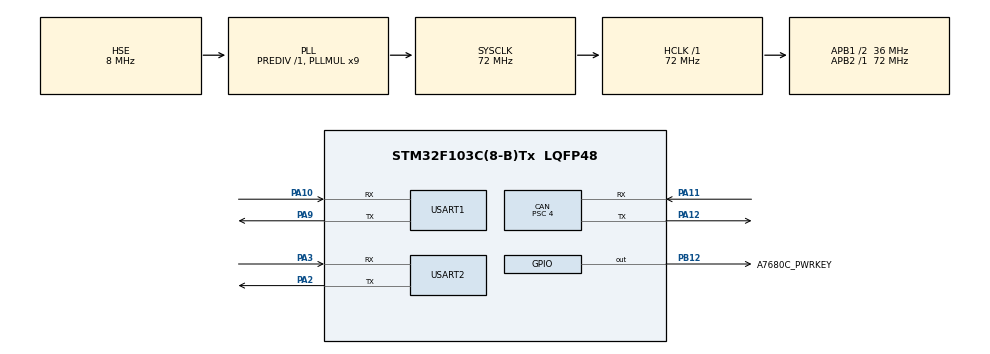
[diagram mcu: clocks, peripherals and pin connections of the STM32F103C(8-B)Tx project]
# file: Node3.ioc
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CAN.BS1=CAN_BS1_15TQ
CAN.BS2=CAN_BS2_2TQ
CAN.CalculateBaudRate=500000
CAN.CalculateTimeBit=2000
CAN.CalculateTimeQuantum=111.11111111111111
CAN.Prescaler=4
FREERTOS.INCLUDE_vTaskDelayUntil=1
FREERTOS.Tasks01=defaultTask,0,128,StartDefaultTask,Default,NULL,Dynamic,NULL,NULL
Mcu.Family=STM32F1
Mcu.Name=STM32F103C(8-B)Tx
Mcu.Package=LQFP48
NVIC.PriorityGroup=NVIC_PRIORITYGROUP_4
NVIC.TIM4_IRQn=true\:15\:0\:false\:false\:true\:false\:false\:true\:true
NVIC.TimeBase=TIM4_IRQn
NVIC.TimeBaseIP=TIM4
NVIC.USART2_IRQn=true\:6\:0\:true\:false\:true\:true\:true\:true\:true
NVIC.USB_LP_CAN1_RX0_IRQn=true\:5\:0\:true\:false\:true\:true\:true\:true\:true
PA10.Mode=Asynchronous
PA10.Signal=USART1_RX
PA11.Mode=CAN_Activate
PA11.Signal=CAN_RX
PA12.Mode=CAN_Activate
PA12.Signal=CAN_TX
PA13.Mode=Serial_Wire
PA13.Signal=SYS_JTMS-SWDIO
PA14.Mode=Serial_Wire
PA14.Signal=SYS_JTCK-SWCLK
PA2.Mode=Asynchronous
PA2.Signal=USART2_TX
PA3.Mode=Asynchronous
PA3.Signal=USART2_RX
PA9.Mode=Asynchronous
PA9.Signal=USART1_TX
PB12.GPIO_Label=A7680C_PWRKEY
PB12.PinState=GPIO_PIN_SET
PB12.Signal=GPIO_Output
PD0-OSC_IN.Mode=HSE-External-Oscillator
PD0-OSC_IN.Signal=RCC_OSC_IN
PD1-OSC_OUT.Mode=HSE-External-Oscillator
PD1-OSC_OUT.Signal=RCC_OSC_OUT
ProjectManager.HeapSize=0x200
ProjectManager.StackSize=0x400
ProjectManager.TargetToolchain=MDK-ARM V5.32
RCC.AHBFreq_Value=72000000
RCC.APB1CLKDivider=RCC_HCLK_DIV2
RCC.APB1Freq_Value=36000000
RCC.APB1TimFreq_Value=72000000
RCC.APB2Freq_Value=72000000
RCC.APB2TimFreq_Value=72000000
RCC.HCLKFreq_Value=72000000
RCC.PLLMUL=RCC_PLL_MUL9
RCC.PLLSourceVirtual=RCC_PLLSOURCE_HSE
RCC.SYSCLKFreq_VALUE=72000000
RCC.SYSCLKSource=RCC_SYSCLKSOURCE_PLLCLK
RCC.USBFreq_Value=72000000
USART1.VirtualMode=VM_ASYNC
USART2.VirtualMode=VM_ASYNC
VP_FREERTOS_VS_CMSIS_V1.Mode=CMSIS_V1
VP_SYS_VS_tim4.Mode=TIM4
board=custom

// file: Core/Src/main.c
/* USER CODE BEGIN Header */
/*
 * Node 3: CAN sensor reception + A7680C call alert
 *
 * CAN:
 *   500 kbit/s with HSE 8 MHz
 *   PA11 RX, PA12 TX
 *   Standard data frame ID 0x100, DLC 4
 *
 * USART2:
 *   PA2 TX -> modem RXD
 *   PA3 RX <- modem TXD
 *   115200 baud, 8N1
 *
 * Modem powered on manually.
 * No SMS and no actuator command transmission in this version.
 */
/* USER CODE END Header */

#include "main.h"
#include "cmsis_os.h"

/* USER CODE BEGIN Includes */
#include "FreeRTOS.h"
#include "task.h"
#include "queue.h"
#include "A7680C.h"
#include <stdbool.h>
#include <stdio.h>
#include <string.h>
/* USER CODE END Includes */

/* USER CODE BEGIN PD */
#define ALERT_PHONE             "0399136893"

#define GAS_ALERT_ON            1500U
#define GAS_ALERT_OFF           1000U

#define CAN_DATA_TIMEOUT_MS     3000U
#define CALL_DURATION_MS        30000U
#define CALL_INTERVAL_MS        60000U
#define AT_RETRY_INTERVAL_MS    2000U
/* USER CODE END PD */

/* USER CODE BEGIN PTD */
typedef struct
{
    uint8_t temperature;
    uint8_t humidity;
    uint16_t gas_raw;
    uint32_t received_ms;
} SensorData_t;
/* USER CODE END PTD */

CAN_HandleTypeDef hcan;
UART_HandleTypeDef huart1;
UART_HandleTypeDef huart2;

/* USER CODE BEGIN PV */

/*
 * One-element queue:
 * ISR overwrites it with the newest sensor sample.
 */
static QueueHandle_t xSensorQueue = NULL;
static TaskHandle_t xGatewayTaskHandle = NULL;

volatile SensorData_t g_node3Debug = {0};

/* CAN diagnostics */
volatile uint32_t g_canStage = 0;
volatile uint32_t g_canRxCount = 0;
volatile uint32_t g_canProcessedCount = 0;
volatile uint32_t g_canInvalidCount = 0;
volatile uint32_t g_canReadErrorCount = 0;
volatile uint32_t g_canQueueErrorCount = 0;
volatile uint32_t g_canError = 0;

/* Sensor state */
volatile uint32_t g_sensorSeen = 0;
volatile uint32_t g_sensorFresh = 0;
volatile uint32_t g_sensorAgeMs = 0;
volatile uint32_t g_gasAlarm = 0;

volatile uint32_t g_taskLoops = 0;

/*
 * Call stage:
 * 0  = task not started
 * 1  = initial modem wait
 * 2  = checking AT
 * 3  = modem ready
 * 4  = sending ATD
 * 5  = monitoring call
 * 6  = ATH sent
 * 7  = call terminated by modem
 * 90 = UART error or modem ERROR
 */
volatile uint32_t g_callStage = 0;
volatile uint32_t g_atOK = 0;
volatile uint32_t g_atFailCount = 0;

/*
 * Manual testing:
 * g_callRequest = 1: request one call, respecting cooldown.
 * g_hangupRequest = 1: hang up an active call.
 */
volatile uint32_t g_callRequest = 0;
volatile uint32_t g_hangupRequest = 0;

volatile uint32_t g_callActive = 0;
volatile uint32_t g_callAttempts = 0;
volatile uint32_t g_callElapsedMs = 0;
volatile uint32_t g_callCooldownMs = 0;
volatile uint32_t g_hangupCount = 0;

volatile uint32_t g_uartTxStatus = HAL_OK;
volatile uint32_t g_uartError = 0;

/*
 * Fatal error:
 * 1 oscillator
 * 2 clock
 * 3 UART1
 * 4 UART2
 * 5 CAN init
 * 6 queue allocation
 * 7 task allocation
 * 8 CAN filter
 * 9 CAN start
 * 10 CAN notification
 * 11 scheduler returned
 */
volatile uint32_t g_errorCode = 0;

char g_lastCommand[64];
char g_callRx[256];

static uint16_t callRxLength = 0;
static SensorData_t latestSensor = {0};

static bool sensorSeen = false;
static bool gasAlarm = false;
static bool callActive = false;
static bool callAttempted = false;

static uint32_t callStartedMs = 0;
static uint32_t lastCallAttemptMs = 0;

/* USER CODE END PV */

void SystemClock_Config(void);
static void MX_GPIO_Init(void);
static void MX_CAN_Init(void);
static void MX_USART1_UART_Init(void);
static void MX_USART2_UART_Init(void);

/* USER CODE BEGIN PFP */
static void Task_Gateway(void *argument);
static void CAN_StartReception(void);

static void Sensor_Update(void);
static void Modem_ResetResponse(void);
static void Modem_DrainInput(void);
static bool Modem_Send(const char *command);
static void Modem_ReadByte(void);

static void Call_Start(void);
static void Call_Service(void);
static void Call_Hangup(uint32_t finalStage);
/* USER CODE END PFP */

/* USER CODE BEGIN 0 */

static void Modem_ResetResponse(void)
{
    memset(g_callRx, 0, sizeof(g_callRx));
    callRxLength = 0;
}

static void Modem_DrainInput(void)
{
    uint8_t byte;
    uint32_t start = HAL_GetTick();

    while ((HAL_GetTick() - start) < 50U)
    {
        if (HAL_UART_Receive(&huart2, &byte, 1, 2) != HAL_OK)
        {
            break;
        }
    }

    __HAL_UART_CLEAR_OREFLAG(&huart2);
}

static bool Modem_Send(const char *command)
{
    HAL_StatusTypeDef status;

    snprintf(g_lastCommand,
             sizeof(g_lastCommand),
             "%s",
             command);

    status = HAL_UART_Transmit(&huart2,
                              (uint8_t *)command,
                              (uint16_t)strlen(command),
                              1000);

    g_uartTxStatus = (uint32_t)status;
    g_uartError = HAL_UART_GetError(&huart2);

    return status == HAL_OK;
}

static void Modem_ReadByte(void)
{
    uint8_t byte;
    HAL_StatusTypeDef status;

    status = HAL_UART_Receive(&huart2, &byte, 1, 20);

    if (status == HAL_OK)
    {
        if (callRxLength >= (sizeof(g_callRx) - 1U))
        {
            memmove(g_callRx,
                    g_callRx + 1,
                    sizeof(g_callRx) - 2U);

            callRxLength = sizeof(g_callRx) - 2U;
        }

        g_callRx[callRxLength++] = (char)byte;
        g_callRx[callRxLength] = '\0';
    }
    else if (status == HAL_ERROR)
    {
        g_uartError = HAL_UART_GetError(&huart2);
        __HAL_UART_CLEAR_OREFLAG(&huart2);
    }
}

static void Sensor_Update(void)
{
    SensorData_t sample;
    uint32_t now = HAL_GetTick();

    if (xQueueReceive(xSensorQueue, &sample, 0) == pdPASS)
    {
        latestSensor = sample;
        sensorSeen = true;

        g_node3Debug = sample;
        g_canProcessedCount++;
    }

    g_sensorSeen = sensorSeen ? 1U : 0U;

    if (!sensorSeen)
    {
        g_sensorFresh = 0;
        g_sensorAgeMs = 0;
        g_gasAlarm = 0;
        return;
    }

    g_sensorAgeMs = now - latestSensor.received_ms;

    g_sensorFresh =
        (g_sensorAgeMs <= CAN_DATA_TIMEOUT_MS) ? 1U : 0U;

    /*
     * Do not use stale readings to arm or clear the alarm.
     * Freshness is also checked before each automatic call.
     */
    if (g_sensorFresh != 0U)
    {
        if (latestSensor.gas_raw > GAS_ALERT_ON)
        {
            gasAlarm = true;
        }
        else if (latestSensor.gas_raw < GAS_ALERT_OFF)
        {
            gasAlarm = false;
        }
    }

    g_gasAlarm = gasAlarm ? 1U : 0U;
}

static void Call_Start(void)
{
    char command[64];

    /*
     * Cooldown applies to every attempt, including failures.
     */
    lastCallAttemptMs = HAL_GetTick();
    callAttempted = true;
    g_callAttempts++;

    g_callRequest = 0;
    g_hangupRequest = 0;
    g_callElapsedMs = 0;

    Modem_DrainInput();
    Modem_ResetResponse();

    snprintf(command,
             sizeof(command),
             "ATD%s;\r\n",
             ALERT_PHONE);

    g_callStage = 4;

    if (!Modem_Send(command))
    {
        g_callStage = 90;
        g_atOK = 0;
        return;
    }

    callStartedMs = HAL_GetTick();
    callActive = true;

    g_callActive = 1;
    g_callStage = 5;
}

static void Call_Hangup(uint32_t finalStage)
{
    /*
     * No long wait here: keep processing CAN in the task loop.
     * The response will remain available to subsequent UART reads.
     */
    if (Modem_Send("ATH\r\n"))
    {
        g_hangupCount++;
        g_callStage = finalStage;
    }
    else
    {
        g_callStage = 90;
        g_atOK = 0;
    }

    callActive = false;
    g_callActive = 0;
    g_hangupRequest = 0;
}

static void Call_Service(void)
{
    g_callElapsedMs = HAL_GetTick() - callStartedMs;

    if (strstr(g_callRx, "NO CARRIER") != NULL ||
        strstr(g_callRx, "BUSY") != NULL ||
        strstr(g_callRx, "NO ANSWER") != NULL ||
        strstr(g_callRx, "NO DIALTONE") != NULL)
    {
        callActive = false;
        g_callActive = 0;
        g_hangupRequest = 0;
        g_callStage = 7;
        return;
    }

    if (strstr(g_callRx, "ERROR") != NULL)
    {
        Call_Hangup(90);
        return;
    }

    if (g_hangupRequest != 0U ||
        g_callElapsedMs >= CALL_DURATION_MS)
    {
        Call_Hangup(6);
    }
}

static void CAN_StartReception(void)
{
    CAN_FilterTypeDef filter = {0};

    g_canStage = 1;

    filter.FilterBank = 0;
    filter.FilterMode = CAN_FILTERMODE_IDMASK;
    filter.FilterScale = CAN_FILTERSCALE_32BIT;

    /* Accept all, then validate frame in RX callback. */
    filter.FilterIdHigh = 0;
    filter.FilterIdLow = 0;
    filter.FilterMaskIdHigh = 0;
    filter.FilterMaskIdLow = 0;

    filter.FilterFIFOAssignment = CAN_RX_FIFO0;
    filter.FilterActivation = ENABLE;
    filter.SlaveStartFilterBank = 14;

    if (HAL_CAN_ConfigFilter(&hcan, &filter) != HAL_OK)
    {
        g_errorCode = 8;
        Error_Handler();
    }

    if (HAL_CAN_Start(&hcan) != HAL_OK)
    {
        g_errorCode = 9;
        Error_Handler();
    }

    /*
     * Queue and scheduler are ready before RX notification.
     */
    if (HAL_CAN_ActivateNotification(
            &hcan, CAN_IT_RX_FIFO0_MSG_PENDING) != HAL_OK)
    {
        g_errorCode = 10;
        Error_Handler();
    }

    g_canStage = 2;
}

static void Task_Gateway(void *argument)
{
    uint32_t modemWaitStart;
    uint32_t lastATCheckMs = 0;
    uint32_t now;
    uint32_t elapsed;
    bool atChecked = false;
    bool autoRequest;
    bool manualRequest;

    (void)argument;

    A7680C_Init(&huart2,
                A7680C_PWRKEY_GPIO_Port,
                A7680C_PWRKEY_Pin);

    /* Start receiving CAN immediately. */
    CAN_StartReception();

    /*
     * Allow initial modem boot time while servicing CAN.
     * Do not pulse PWRKEY: preserve manual power-on.
     */
    g_callStage = 1;
    modemWaitStart = HAL_GetTick();

    for (;;)
    {
        Sensor_Update();
        g_taskLoops++;
        g_canError = HAL_CAN_GetError(&hcan);

        now = HAL_GetTick();

        if (callAttempted)
        {
            elapsed = now - lastCallAttemptMs;

            g_callCooldownMs =
                (elapsed < CALL_INTERVAL_MS)
                ? (CALL_INTERVAL_MS - elapsed)
                : 0U;
        }
        else
        {
            g_callCooldownMs = 0;
        }

        /*
         * Brief UART read, not a 30-second blocking call loop.
         * CAN is serviced again on the next iteration.
         */
        if (callActive)
        {
            Modem_ReadByte();
            Call_Service();

            vTaskDelay(pdMS_TO_TICKS(1));
            continue;
        }

        if ((now - modemWaitStart) < 3000U)
        {
            vTaskDelay(pdMS_TO_TICKS(10));
            continue;
        }

        if (g_atOK == 0U)
        {
            if (!atChecked ||
                (now - lastATCheckMs) >= AT_RETRY_INTERVAL_MS)
            {
                atChecked = true;
                lastATCheckMs = now;
                g_callStage = 2;

                Modem_DrainInput();

                if (A7680C_IsReady())
                {
                    g_atOK = 1;
                    g_callStage = 3;
                }
                else
                {
                    g_atFailCount++;
                }

                /*
                 * AT checking may take up to one second.
                 * Re-read the latest CAN data before deciding.
                 */
                Sensor_Update();
            }

            vTaskDelay(pdMS_TO_TICKS(10));
            continue;
        }

        /*
         * Consume idle modem responses, such as ATH reply.
         */
        Modem_ReadByte();

        /*
         * Refresh sensor age after any UART wait.
         */
        Sensor_Update();

        autoRequest =
            (g_sensorFresh != 0U) &&
            gasAlarm &&
            (latestSensor.gas_raw > GAS_ALERT_ON);

        manualRequest = (g_callRequest == 1U);

        now = HAL_GetTick();

        if ((autoRequest || manualRequest) &&
            (!callAttempted ||
             (now - lastCallAttemptMs) >= CALL_INTERVAL_MS))
        {
            Call_Start();
        }

        vTaskDelay(pdMS_TO_TICKS(1));
    }
}

/* USER CODE END 0 */

int main(void)
{
    HAL_Init();
    SystemClock_Config();

    MX_GPIO_Init();
    MX_CAN_Init();
    MX_USART1_UART_Init();
    MX_USART2_UART_Init();

    /* USER CODE BEGIN RTOS_QUEUES */

    /*
     * xQueueOverwriteFromISR requires a one-element queue.
     */
    xSensorQueue = xQueueCreate(1, sizeof(SensorData_t));

    if (xSensorQueue == NULL)
    {
        g_errorCode = 6;
        Error_Handler();
    }

    /* USER CODE END RTOS_QUEUES */

    /* USER CODE BEGIN RTOS_THREADS */

    if (xTaskCreate(Task_Gateway,
                    "CAN_SIM",
                    512,
                    NULL,
                    2,
                    &xGatewayTaskHandle) != pdPASS)
    {
        g_errorCode = 7;
        Error_Handler();
    }

    /* USER CODE END RTOS_THREADS */

    osKernelStart();

    g_errorCode = 11;
    Error_Handler();

    while (1)
    {
    }
}

void SystemClock_Config(void)
{
    RCC_OscInitTypeDef RCC_OscInitStruct = {0};
    RCC_ClkInitTypeDef RCC_ClkInitStruct = {0};

    RCC_OscInitStruct.OscillatorType = RCC_OSCILLATORTYPE_HSE;
    RCC_OscInitStruct.HSEState = RCC_HSE_ON;
    RCC_OscInitStruct.HSEPredivValue = RCC_HSE_PREDIV_DIV1;
    RCC_OscInitStruct.HSIState = RCC_HSI_ON;

    RCC_OscInitStruct.PLL.PLLState = RCC_PLL_ON;
    RCC_OscInitStruct.PLL.PLLSource = RCC_PLLSOURCE_HSE;
    RCC_OscInitStruct.PLL.PLLMUL = RCC_PLL_MUL9;

    if (HAL_RCC_OscConfig(&RCC_OscInitStruct) != HAL_OK)
    {
        g_errorCode = 1;
        Error_Handler();
    }

    RCC_ClkInitStruct.ClockType =
        RCC_CLOCKTYPE_HCLK |
        RCC_CLOCKTYPE_SYSCLK |
        RCC_CLOCKTYPE_PCLK1 |
        RCC_CLOCKTYPE_PCLK2;

    RCC_ClkInitStruct.SYSCLKSource = RCC_SYSCLKSOURCE_PLLCLK;
    RCC_ClkInitStruct.AHBCLKDivider = RCC_SYSCLK_DIV1;
    RCC_ClkInitStruct.APB1CLKDivider = RCC_HCLK_DIV2;
    RCC_ClkInitStruct.APB2CLKDivider = RCC_HCLK_DIV1;

    if (HAL_RCC_ClockConfig(&RCC_ClkInitStruct,
                           FLASH_LATENCY_2) != HAL_OK)
    {
        g_errorCode = 2;
        Error_Handler();
    }
}

static void MX_CAN_Init(void)
{
    hcan.Instance = CAN1;

    /* 36 MHz / (4 * (1 + 15 + 2)) = 500 kbit/s. */
    hcan.Init.Prescaler = 4;
    hcan.Init.Mode = CAN_MODE_NORMAL;
    hcan.Init.SyncJumpWidth = CAN_SJW_1TQ;
    hcan.Init.TimeSeg1 = CAN_BS1_15TQ;
    hcan.Init.TimeSeg2 = CAN_BS2_2TQ;

    hcan.Init.TimeTriggeredMode = DISABLE;
    hcan.Init.AutoBusOff = DISABLE;
    hcan.Init.AutoWakeUp = DISABLE;
    hcan.Init.AutoRetransmission = DISABLE;
    hcan.Init.ReceiveFifoLocked = DISABLE;
    hcan.Init.TransmitFifoPriority = DISABLE;

    if (HAL_CAN_Init(&hcan) != HAL_OK)
    {
        g_errorCode = 5;
        Error_Handler();
    }
}

static void MX_USART1_UART_Init(void)
{
    huart1.Instance = USART1;
    huart1.Init.BaudRate = 115200;
    huart1.Init.WordLength = UART_WORDLENGTH_8B;
    huart1.Init.StopBits = UART_STOPBITS_1;
    huart1.Init.Parity = UART_PARITY_NONE;
    huart1.Init.Mode = UART_MODE_TX_RX;
    huart1.Init.HwFlowCtl = UART_HWCONTROL_NONE;
    huart1.Init.OverSampling = UART_OVERSAMPLING_16;

    if (HAL_UART_Init(&huart1) != HAL_OK)
    {
        g_errorCode = 3;
        Error_Handler();
    }
}

static void MX_USART2_UART_Init(void)
{
    huart2.Instance = USART2;
    huart2.Init.BaudRate = 115200;
    huart2.Init.WordLength = UART_WORDLENGTH_8B;
    huart2.Init.StopBits = UART_STOPBITS_1;
    huart2.Init.Parity = UART_PARITY_NONE;
    huart2.Init.Mode = UART_MODE_TX_RX;
    huart2.Init.HwFlowCtl = UART_HWCONTROL_NONE;
    huart2.Init.OverSampling = UART_OVERSAMPLING_16;

    if (HAL_UART_Init(&huart2) != HAL_OK)
    {
        g_errorCode = 4;
        Error_Handler();
    }
}

static void MX_GPIO_Init(void)
{
    GPIO_InitTypeDef GPIO_InitStruct = {0};

    __HAL_RCC_GPIOD_CLK_ENABLE();
    __HAL_RCC_GPIOA_CLK_ENABLE();
    __HAL_RCC_GPIOB_CLK_ENABLE();

    /* Preserve manual modem power-on. */
    GPIO_InitStruct.Pin = A7680C_PWRKEY_Pin;
    GPIO_InitStruct.Mode = GPIO_MODE_INPUT;
    GPIO_InitStruct.Pull = GPIO_NOPULL;

    HAL_GPIO_Init(A7680C_PWRKEY_GPIO_Port, &GPIO_InitStruct);
}

/* USER CODE BEGIN 4 */

void HAL_CAN_RxFifo0MsgPendingCallback(CAN_HandleTypeDef *can)
{
    CAN_RxHeaderTypeDef header;
    uint8_t data[8];
    SensorData_t sample = {0};
    BaseType_t taskWoken = pdFALSE;

    if (can->Instance != CAN1)
    {
        return;
    }

    while (HAL_CAN_GetRxFifoFillLevel(can, CAN_RX_FIFO0) > 0U)
    {
        if (HAL_CAN_GetRxMessage(can,
                                CAN_RX_FIFO0,
                                &header,
                                data) != HAL_OK)
        {
            g_canReadErrorCount++;
            break;
        }

        if (header.IDE != CAN_ID_STD ||
            header.RTR != CAN_RTR_DATA ||
            header.StdId != 0x100U ||
            header.DLC != 4U)
        {
            g_canInvalidCount++;
            continue;
        }

        sample.temperature = data[0];
        sample.humidity = data[1];

        sample.gas_raw =
            ((uint16_t)data[2] << 8) | (uint16_t)data[3];

        sample.received_ms = HAL_GetTick();

        g_canRxCount++;

        if (xSensorQueue != NULL)
        {
            if (xQueueOverwriteFromISR(xSensorQueue,
                                      &sample,
                                      &taskWoken) != pdPASS)
            {
                g_canQueueErrorCount++;
            }
        }
        else
        {
            g_canQueueErrorCount++;
        }
    }

    portYIELD_FROM_ISR(taskWoken);
}

void HAL_TIM_PeriodElapsedCallback(TIM_HandleTypeDef *htim)
{
    if (htim->Instance == TIM4)
    {
        HAL_IncTick();
    }
}

/* USER CODE END 4 */

void Error_Handler(void)
{
    g_canError = HAL_CAN_GetError(&hcan);

    __disable_irq();

    while (1)
    {
    }
}
